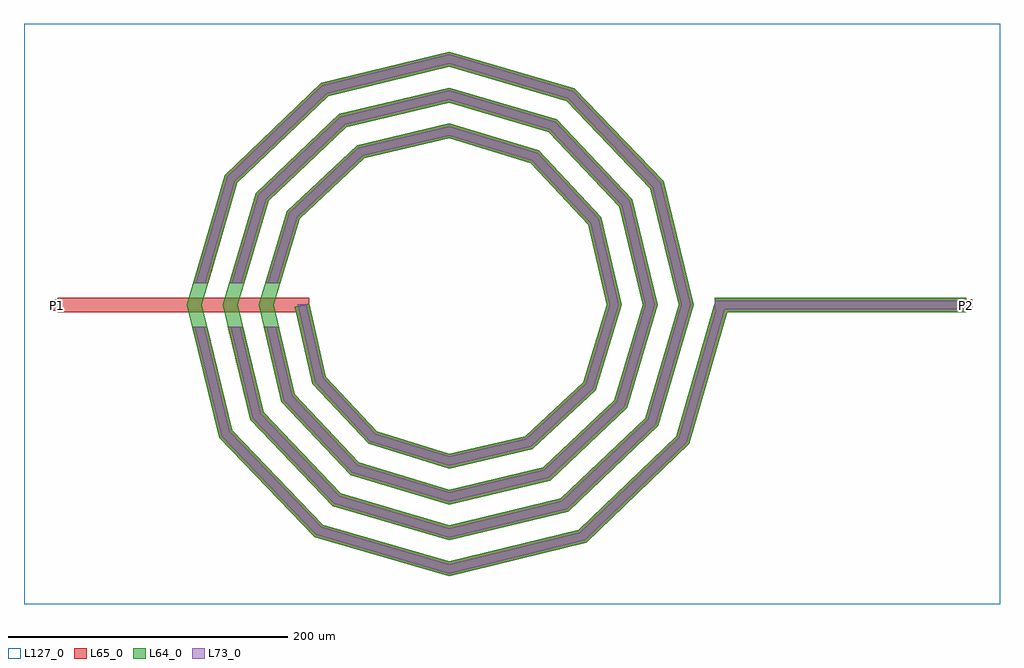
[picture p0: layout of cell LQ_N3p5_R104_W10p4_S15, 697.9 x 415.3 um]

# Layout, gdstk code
import gdstk
lib = gdstk.Library(unit=1e-6, precision=1e-09)
def R(c, l, rs):  # rectangles x0, y0, x1, y1
    for r in rs: c.add(gdstk.rectangle(r[:2], r[2:], *l))
def P(c, l, *ps):  # polygons
    for p in ps: c.add(gdstk.Polygon(p, *l))
L64_0 = (64, 0)
L65_0 = (65, 0)
L73_0 = (73, 0)
L127_0 = (127, 0)

lq_n3p5_r104_w10p4_s15 = lib.new_cell('LQ_N3p5_R104_W10p4_S15')
R(lq_n3p5_r104_w10p4_s15, L64_0, [(189.912,-5.2,369.912,5.2)])
P(lq_n3p5_r104_w10p4_s15, L64_0, [(-88.194,-51.15),(-51.877,-90.246),(0.193,-106.235),(54.352,-93.762),(95.803,-55.098),(112.657,0.182),(99.329,57.554),(58.317,101.36),(0.173,119.08),(-60.757,104.895),(-106.918,61.536),(-125.503,0.164),(-110.462,-63.962),(-64.754,-112.476),(0.157,-131.925),(67.167,-116.028),(118.035,-67.972),(138.348,0.15),(121.593,70.372),(71.189,123.593),(0.143,144.77),(-73.578,127.158),(-129.153,74.406),(-151.193,0.137),(-132.724,-76.784),(-77.622,-134.712),(0.132,-157.616),(79.991,-138.288),(140.272,-80.838),(164.039,0.127),(143.853,83.198),(84.053,145.832),(0.122,170.461),(-86.406,149.418),(-151.392,87.268),(-176.884,0.118),(-154.982,-89.614),(-90.483,-156.952),(0.114,-183.307),(92.821,-160.546),(162.512,-93.698),(190.118,1.449),(200.106,-1.449),(171.724,-99.273),(98.009,-169.981),(0.114,-194.072),(-96.065,-166.159),(-164.421,-94.794),(-187.649,0.118),(-160.595,92.857),(-91.579,158.861),(0.122,181.226),(89.65,155.03),(153.301,88.363),(174.803,0.127),(149.465,-86.442),(85.148,-147.741),(0.132,-168.38),(-83.235,-143.9),(-142.181,-81.932),(-161.957,0.137),(-138.335,80.029),(-78.715,136.621),(0.143,155.534),(76.822,132.77),(131.062,75.498),(149.111,0.15),(127.204,-73.617),(72.281,-125.503),(0.157,-142.688),(-70.411,-121.638),(-119.944,-69.063),(-136.265,0.164),(-116.071,67.207),(-65.845,114.386),(0.173,129.842),(64.003,110.504),(108.828,62.625),(123.419,0.182),(104.937,-60.8),(59.405,-103.27),(0.193,-116.996),(-57.597,-99.369),(-97.713,-56.183),(-110.262,-1.156),(-100.123,1.156)])
R(lq_n3p5_r104_w10p4_s15, L65_0, [(-279.993,-5.2,-99.993,5.2), (189.912,-5.2,369.912,5.2), (-283.993,-4,-275.993,4), (365.912,-4,373.912,4)])
P(lq_n3p5_r104_w10p4_s15, L65_0, [(-154.982,-89.614),(-90.483,-156.952),(0.114,-183.307),(92.822,-160.546),(162.512,-93.698),(190.118,1.449),(200.106,-1.449),(171.724,-99.273),(98.009,-169.981),(0.114,-194.072),(-96.065,-166.159),(-164.421,-94.794),(-183.802,-15.6),(-173.095,-15.6)],
  [(-132.724,-76.784),(-77.622,-134.712),(0.132,-157.616),(79.991,-138.288),(140.272,-80.838),(164.039,0.127),(143.853,83.198),(84.053,145.832),(0.122,170.461),(-86.406,149.418),(-151.392,87.268),(-172.299,15.6),(-183.132,15.6),(-160.595,92.857),(-91.579,158.861),(0.122,181.226),(89.65,155.03),(153.301,88.363),(174.803,0.127),(149.465,-86.442),(85.148,-147.741),(0.132,-168.38),(-83.235,-143.9),(-142.181,-81.932),(-158.165,-15.6),(-147.467,-15.6)],
  [(-110.462,-63.962),(-64.754,-112.476),(0.157,-131.925),(67.167,-116.028),(118.035,-67.972),(138.348,0.15),(121.593,70.372),(71.189,123.594),(0.143,144.771),(-73.578,127.158),(-129.153,74.406),(-146.54,15.6),(-157.385,15.6),(-138.335,80.029),(-78.715,136.621),(0.143,155.534),(76.822,132.77),(131.062,75.498),(149.111,0.15),(127.204,-73.617),(72.281,-125.503),(0.157,-142.688),(-70.411,-121.638),(-119.944,-69.063),(-132.549,-15.6),(-121.864,-15.6)],
  [(-51.877,-90.246),(0.193,-106.235),(54.352,-93.762),(95.803,-55.098),(112.657,0.182),(99.329,57.554),(58.317,101.36),(0.173,119.08),(-60.758,104.895),(-106.918,61.536),(-120.754,15.6),(-131.616,15.6),(-116.071,67.207),(-65.845,114.386),(0.173,129.842),(64.003,110.505),(108.828,62.625),(123.419,0.182),(104.937,-60.8),(59.405,-103.27),(0.193,-116.996),(-57.598,-99.369),(-97.713,-56.184),(-110.262,-1.156),(-100.123,1.156),(-88.194,-51.15)])
R(lq_n3p5_r104_w10p4_s15, L73_0, [(189.912,-3.2,369.912,3.2)])
P(lq_n3p5_r104_w10p4_s15, L73_0, [(-156.797,-90.61),(-91.557,-158.723),(0.07,-185.377),(93.819,-162.361),(164.284,-94.77),(192.039,0.892),(198.185,0.892),(169.952,-98.201),(97.011,-168.167),(0.07,-192.002),(-94.992,-164.389),(-162.606,-93.798),(-181.743,-15.6),(-175.154,-15.6)],
  [(-134.542,-77.774),(-78.701,-136.479),(0.081,-159.686),(80.983,-140.106),(142.04,-81.915),(166.109,0.078),(145.67,84.192),(85.129,147.601),(0.075,172.532),(-87.401,151.234),(-153.162,88.343),(-174.382,15.6),(-181.049,15.6),(-158.825,91.783),(-90.584,157.045),(0.075,179.156),(88.573,153.261),(151.484,87.37),(172.733,0.078),(147.697,-85.365),(84.156,-145.923),(0.081,-166.31),(-82.156,-142.133),(-140.362,-80.942),(-156.108,-15.6),(-149.524,-15.6)],
  [(-112.285,-64.943),(-65.842,-114.238),(0.096,-133.995),(68.15,-117.85),(119.798,-69.058),(140.418,0.092),(123.414,71.358),(72.272,125.358),(0.088,146.841),(-74.566,128.978),(-130.919,75.487),(-148.626,15.6),(-155.3,15.6),(-136.569,78.947),(-77.727,134.802),(0.088,153.464),(75.739,131.005),(129.241,74.513),(147.041,0.092),(125.441,-72.531),(71.298,-123.681),(0.096,-140.618),(-69.324,-119.876),(-118.121,-68.082),(-130.494,-15.6),(-123.918,-15.6)],
  [(-52.977,-92.001),(0.119,-108.304),(55.323,-95.59),(97.56,-56.194),(114.727,0.112),(101.156,58.529),(59.411,103.119),(0.106,121.15),(-61.736,106.721),(-108.678,62.627),(-122.843,15.6),(-129.527,15.6),(-114.311,66.116),(-64.866,112.561),(0.106,127.773),(62.909,108.746),(107.001,61.65),(121.35,0.112),(103.181,-59.703),(58.433,-101.442),(0.119,-114.927),(-56.497,-97.615),(-95.883,-55.216),(-108.313,0.712),(-102.073,0.712),(-90.025,-52.118)])
R(lq_n3p5_r104_w10p4_s15, L127_0, [(-303.993,-214.072,393.912,201.226)])
lq_n3p5_r104_w10p4_s15.add(gdstk.Label('P2', (369.912,0), layer=65, texttype=0))
lq_n3p5_r104_w10p4_s15.add(gdstk.Label('P1', (-279.993,0), layer=65, texttype=0))
lq_n3p5_r104_w10p4_s15.add(gdstk.Label('P2', (373.912,0), layer=145, texttype=0))
lq_n3p5_r104_w10p4_s15.add(gdstk.Label('P1', (-283.993,0), layer=145, texttype=0))

lib.write_gds('LQ_N3p5_R104_W10p4_S15.gds')
